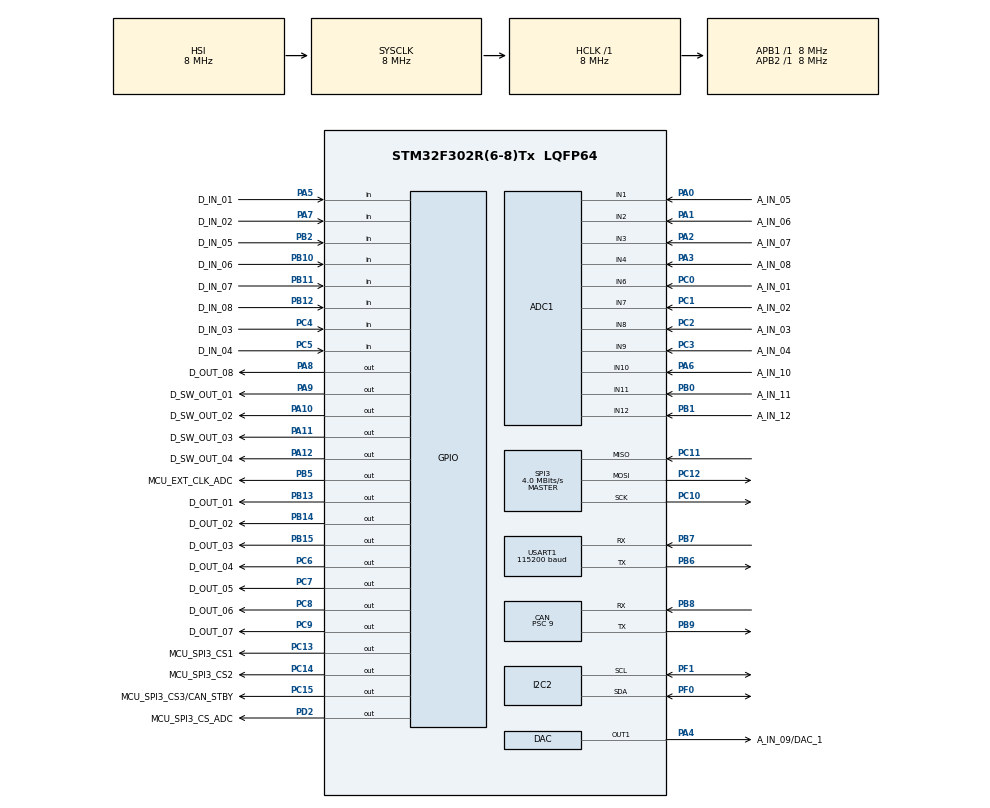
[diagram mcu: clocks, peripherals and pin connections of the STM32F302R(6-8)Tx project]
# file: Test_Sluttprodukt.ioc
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ADC1.Channel-0\#ChannelRegularConversion=ADC_CHANNEL_6
ADC1.ClockPrescaler=ADC_CLOCK_ASYNC_DIV1
ADC1.ContinuousConvMode=ENABLE
ADC1.EnableInjectedConversion=DISABLE
ADC1.NbrOfConversionFlag=1
ADC1.Offset-0\#ChannelRegularConversion=0
ADC1.OffsetNumber-0\#ChannelRegularConversion=ADC_OFFSET_NONE
ADC1.Overrun=ADC_OVR_DATA_PRESERVED
ADC1.Rank-0\#ChannelRegularConversion=1
ADC1.SamplingTime-0\#ChannelRegularConversion=ADC_SAMPLETIME_61CYCLES_5
ADC1.master=1
CAN.BS1=CAN_BS1_3TQ
CAN.BS2=CAN_BS2_4TQ
CAN.CalculateBaudRate=111111
CAN.CalculateTimeBit=9000
CAN.CalculateTimeQuantum=1125.0
CAN.Prescaler=9
Dma.ADC1.0.Direction=DMA_PERIPH_TO_MEMORY
Dma.ADC1.0.Instance=DMA1_Channel1
Dma.ADC1.0.MemDataAlignment=DMA_MDATAALIGN_HALFWORD
Dma.ADC1.0.MemInc=DMA_MINC_ENABLE
Dma.ADC1.0.Mode=DMA_CIRCULAR
Dma.ADC1.0.PeriphDataAlignment=DMA_PDATAALIGN_HALFWORD
Dma.ADC1.0.PeriphInc=DMA_PINC_DISABLE
Dma.ADC1.0.Priority=DMA_PRIORITY_LOW
Dma.I2C2_RX.2.Direction=DMA_PERIPH_TO_MEMORY
Dma.I2C2_RX.2.Instance=DMA1_Channel5
Dma.I2C2_RX.2.MemDataAlignment=DMA_MDATAALIGN_BYTE
Dma.I2C2_RX.2.MemInc=DMA_MINC_ENABLE
Dma.I2C2_RX.2.Mode=DMA_NORMAL
Dma.I2C2_RX.2.PeriphDataAlignment=DMA_PDATAALIGN_BYTE
Dma.I2C2_RX.2.PeriphInc=DMA_PINC_DISABLE
Dma.I2C2_RX.2.Priority=DMA_PRIORITY_LOW
Dma.I2C2_TX.1.Direction=DMA_MEMORY_TO_PERIPH
Dma.I2C2_TX.1.Instance=DMA1_Channel4
Dma.I2C2_TX.1.MemDataAlignment=DMA_MDATAALIGN_BYTE
Dma.I2C2_TX.1.MemInc=DMA_MINC_ENABLE
Dma.I2C2_TX.1.Mode=DMA_NORMAL
Dma.I2C2_TX.1.PeriphDataAlignment=DMA_PDATAALIGN_BYTE
Dma.I2C2_TX.1.PeriphInc=DMA_PINC_DISABLE
Dma.I2C2_TX.1.Priority=DMA_PRIORITY_LOW
Dma.Request0=ADC1
Dma.Request1=I2C2_TX
Dma.Request2=I2C2_RX
Dma.Request3=SPI3_TX
Dma.SPI3_TX.3.Direction=DMA_MEMORY_TO_PERIPH
Dma.SPI3_TX.3.Instance=DMA1_Channel3
Dma.SPI3_TX.3.MemDataAlignment=DMA_MDATAALIGN_BYTE
Dma.SPI3_TX.3.MemInc=DMA_MINC_ENABLE
Dma.SPI3_TX.3.Mode=DMA_NORMAL
Dma.SPI3_TX.3.PeriphDataAlignment=DMA_PDATAALIGN_BYTE
Dma.SPI3_TX.3.PeriphInc=DMA_PINC_DISABLE
Dma.SPI3_TX.3.Priority=DMA_PRIORITY_LOW
Mcu.Family=STM32F3
Mcu.Name=STM32F302R(6-8)Tx
Mcu.Package=LQFP64
NVIC.DMA1_Channel1_IRQn=true\:0\:0\:false\:false\:true\:false\:true\:true
NVIC.DMA1_Channel3_IRQn=true\:0\:0\:false\:false\:true\:false\:true\:true
NVIC.DMA1_Channel4_IRQn=true\:0\:0\:false\:false\:true\:false\:true\:true
NVIC.DMA1_Channel5_IRQn=true\:0\:0\:false\:false\:true\:false\:true\:true
NVIC.I2C2_ER_IRQn=true\:0\:0\:false\:false\:true\:true\:true\:true
NVIC.I2C2_EV_IRQn=true\:0\:0\:false\:false\:true\:true\:true\:true
NVIC.PriorityGroup=NVIC_PRIORITYGROUP_4
NVIC.SPI3_IRQn=true\:0\:0\:false\:false\:true\:true\:true\:true
PA0.GPIO_Label=A_IN_05
PA0.Mode=IN1-Single-Ended
PA0.Signal=ADC1_IN1
PA1.GPIO_Label=A_IN_06
PA1.Mode=IN2-Single-Ended
PA1.Signal=ADC1_IN2
PA10.GPIO_Label=D_SW_OUT_02
PA10.GPIO_Speed=GPIO_SPEED_FREQ_HIGH
PA10.Signal=GPIO_Output
PA11.GPIO_Label=D_SW_OUT_03
PA11.GPIO_Speed=GPIO_SPEED_FREQ_HIGH
PA11.Signal=GPIO_Output
PA12.GPIO_Label=D_SW_OUT_04
PA12.GPIO_Speed=GPIO_SPEED_FREQ_HIGH
PA12.Signal=GPIO_Output
PA13.Mode=JTAG_5_pins
PA13.Signal=SYS_JTMS-SWDIO
PA14.Mode=JTAG_5_pins
PA14.Signal=SYS_JTCK-SWCLK
PA15.Mode=JTAG_5_pins
PA15.Signal=SYS_JTDI
PA2.GPIO_Label=A_IN_07
PA2.Mode=IN3-Single-Ended
PA2.Signal=ADC1_IN3
PA3.GPIO_Label=A_IN_08
PA3.Mode=IN4-Single-Ended
PA3.Signal=ADC1_IN4
PA4.GPIO_Label=A_IN_09/DAC_1
PA4.Signal=SharedAnalog_PA4
PA5.GPIO_Label=D_IN_01
PA5.Signal=GPIO_Input
PA6.GPIO_Label=A_IN_10
PA6.Signal=ADCx_IN10
PA7.GPIO_Label=D_IN_02
PA7.Signal=GPIO_Input
PA8.GPIO_Label=D_OUT_08
PA8.GPIO_Speed=GPIO_SPEED_FREQ_HIGH
PA8.Signal=GPIO_Output
PA9.GPIO_Label=D_SW_OUT_01
PA9.GPIO_Speed=GPIO_SPEED_FREQ_HIGH
PA9.Signal=GPIO_Output
PB0.GPIO_Label=A_IN_11
PB0.Mode=IN11-Single-Ended
PB0.Signal=ADC1_IN11
PB1.GPIO_Label=A_IN_12
PB1.Mode=IN12-Single-Ended
PB1.Signal=ADC1_IN12
PB10.GPIO_Label=D_IN_06
PB10.Signal=GPIO_Input
PB11.GPIO_Label=D_IN_07
PB11.Signal=GPIO_Input
PB12.GPIO_Label=D_IN_08
PB12.Signal=GPIO_Input
PB13.GPIO_Label=D_OUT_01
PB13.GPIO_Speed=GPIO_SPEED_FREQ_HIGH
PB13.Signal=GPIO_Output
PB14.GPIO_Label=D_OUT_02
PB14.GPIO_Speed=GPIO_SPEED_FREQ_HIGH
PB14.Signal=GPIO_Output
PB15.GPIO_Label=D_OUT_03
PB15.GPIO_Speed=GPIO_SPEED_FREQ_HIGH
PB15.Signal=GPIO_Output
PB2.GPIO_Label=D_IN_05
PB2.Signal=GPIO_Input
PB3.Mode=JTAG_5_pins
PB3.Signal=SYS_JTDO-TRACESWO
PB4.Mode=JTAG_5_pins
PB4.Signal=SYS_NJTRST
PB5.GPIO_Label=MCU_EXT_CLK_ADC
PB5.GPIO_Speed=GPIO_SPEED_FREQ_HIGH
PB5.Signal=GPIO_Output
PB6.Mode=Asynchronous
PB6.Signal=USART1_TX
PB7.Mode=Asynchronous
PB7.Signal=USART1_RX
PB8.Mode=CAN_Activate
PB8.Signal=CAN_RX
PB9.Mode=CAN_Activate
PB9.Signal=CAN_TX
PC0.GPIO_Label=A_IN_01
PC0.Signal=ADCx_IN6
PC1.GPIO_Label=A_IN_02
PC1.Signal=ADCx_IN7
PC10.Mode=Full_Duplex_Master
PC10.Signal=SPI3_SCK
PC11.Mode=Full_Duplex_Master
PC11.Signal=SPI3_MISO
PC12.Mode=Full_Duplex_Master
PC12.Signal=SPI3_MOSI
PC13.GPIO_Label=MCU_SPI3_CS1
PC13.GPIO_Speed=GPIO_SPEED_FREQ_LOW
PC13.Signal=GPIO_Output
PC14\ -\ OSC32_IN.GPIO_Label=MCU_SPI3_CS2
PC14\ -\ OSC32_IN.GPIO_Speed=GPIO_SPEED_FREQ_HIGH
PC14\ -\ OSC32_IN.Signal=GPIO_Output
PC15\ -\ OSC32_OUT.GPIO_Label=MCU_SPI3_CS3/CAN_STBY
PC15\ -\ OSC32_OUT.GPIO_Speed=GPIO_SPEED_FREQ_HIGH
PC15\ -\ OSC32_OUT.Signal=GPIO_Output
PC2.GPIO_Label=A_IN_03
PC2.Signal=ADCx_IN8
PC3.GPIO_Label=A_IN_04
PC3.Signal=ADCx_IN9
PC4.GPIO_Label=D_IN_03
PC4.Signal=GPIO_Input
PC5.GPIO_Label=D_IN_04
PC5.Signal=GPIO_Input
PC6.GPIO_Label=D_OUT_04
PC6.GPIO_Speed=GPIO_SPEED_FREQ_HIGH
PC6.Signal=GPIO_Output
PC7.GPIO_Label=D_OUT_05
PC7.GPIO_Speed=GPIO_SPEED_FREQ_HIGH
PC7.Signal=GPIO_Output
PC8.GPIO_Label=D_OUT_06
PC8.GPIO_Speed=GPIO_SPEED_FREQ_HIGH
PC8.Signal=GPIO_Output
PC9.GPIO_Label=D_OUT_07
PC9.GPIO_Speed=GPIO_SPEED_FREQ_HIGH
PC9.Signal=GPIO_Output
PD2.GPIO_Label=MCU_SPI3_CS_ADC
PD2.GPIO_Speed=GPIO_SPEED_FREQ_HIGH
PD2.Signal=GPIO_Output
PF0-OSC_IN.GPIO_Pu=GPIO_PULLUP
PF0-OSC_IN.Mode=I2C
PF0-OSC_IN.Signal=I2C2_SDA
PF1-OSC_OUT.GPIO_Pu=GPIO_PULLUP
PF1-OSC_OUT.Mode=I2C
PF1-OSC_OUT.Signal=I2C2_SCL
ProjectManager.HeapSize=0x200
ProjectManager.StackSize=0x400
ProjectManager.TargetToolchain=STM32CubeIDE
RCC.AHBFreq_Value=8000000
RCC.APB1Freq_Value=8000000
RCC.APB2Freq_Value=8000000
RCC.CortexFreq_Value=8000000
RCC.HSE_VALUE=8000000
RCC.HSI_VALUE=8000000
RCC.LSE_VALUE=32768
RCC.PLLMUL=RCC_PLL_MUL4
RCC.SYSCLKFreq_VALUE=8000000
RCC.USBFreq_Value=16000000
SH.ADCx_IN10.0=ADC1_IN10,IN10-Single-Ended
SH.ADCx_IN6.0=ADC1_IN6,IN6-Single-Ended
SH.ADCx_IN7.0=ADC1_IN7,IN7-Single-Ended
SH.ADCx_IN8.0=ADC1_IN8,IN8-Single-Ended
SH.ADCx_IN9.0=ADC1_IN9,IN9-Single-Ended
SH.SharedAnalog_PA4.0=DAC_OUT1,DAC_OUT1
SH.SharedAnalog_PA4.1=ADC1_IN5,IN5-Single-Ended
SPI3.CalculateBaudRate=4.0 MBits/s
SPI3.DataSize=SPI_DATASIZE_8BIT
SPI3.Direction=SPI_DIRECTION_2LINES
SPI3.Mode=SPI_MODE_MASTER
SPI3.NSSPMode=SPI_NSS_PULSE_DISABLE
SPI3.VirtualType=VM_MASTER
USART1.BaudRate=115200
USART1.VirtualMode-Asynchronous=VM_ASYNC
board=custom

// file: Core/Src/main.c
/* USER CODE BEGIN Header */
/**
  ******************************************************************************
  * @file           : main.c
  * @brief          : Main program body
  ******************************************************************************
  * @attention
  *
  * Copyright (c) 2024 STMicroelectronics.
  * All rights reserved.
  *
  * This software is licensed under terms that can be found in the LICENSE file
  * in the root directory of this software component.
  * If no LICENSE file comes with this software, it is provided AS-IS.
  *
  ******************************************************************************
  */
/* USER CODE END Header */
#include "main.h"

/* USER CODE BEGIN Includes */

#include <string.h>
#include <stdio.h>

/* USER CODE END Includes */

ADC_HandleTypeDef hadc1;
DMA_HandleTypeDef hdma_adc1;

CAN_HandleTypeDef hcan;

DAC_HandleTypeDef hdac;

I2C_HandleTypeDef hi2c2;
DMA_HandleTypeDef hdma_i2c2_tx;
DMA_HandleTypeDef hdma_i2c2_rx;

SPI_HandleTypeDef hspi3;
DMA_HandleTypeDef hdma_spi3_tx;

UART_HandleTypeDef huart1;

void SystemClock_Config(void);
static void MX_GPIO_Init(void);
static void MX_DMA_Init(void);
static void MX_ADC1_Init(void);
static void MX_I2C2_Init(void);
static void MX_SPI3_Init(void);
static void MX_CAN_Init(void);
static void MX_USART1_UART_Init(void);
static void MX_DAC_Init(void);

/* USER CODE BEGIN 0 */

uint8_t buf[12] = "Hello world\n"; 	// Buffer som sendes over UART

uint8_t I2C_TX_Buffer[] = "A"; 		// Buffer som sendes over I2C

uint32_t value_dac = 0; 			// Variabel for å bestemme output på DAC

uint32_t value_adc; 				// Variabel for å ta vare på verdi fra ADC
char msg[10]; 						// Buffer for å sende ADC data

uint8_t Master_SPI_RX[1]; 			// Buffer for å motta og lagre verdi fra SPI

CAN_TxHeaderTypeDef TxHeader;
uint8_t TxData[8] = "A"; 			// Buffer for CAN data som skal sendes
uint32_t TxMailbox; 				// TxMailbox vil sendes til CAN bussen

/* USER CODE END 0 */

int main(void)
{

  /* MCU Configuration--------------------------------------------------------*/

  /* Reset of all peripherals, Initializes the Flash interface and the Systick. */
  HAL_Init();

  /* Configure the system clock */
  SystemClock_Config();

  /* Initialize all configured peripherals */
  MX_GPIO_Init();
  MX_DMA_Init();
  MX_ADC1_Init();
  MX_I2C2_Init();
  MX_SPI3_Init();
  MX_CAN_Init();
  MX_USART1_UART_Init();
  MX_DAC_Init();
  /* USER CODE BEGIN 2 */

  // Starter DAC
  HAL_DAC_Start(&hdac, DAC_CHANNEL_1);

  // Kalibrerer ADC, initialisert på kanal 6
  HAL_ADCEx_Calibration_Start(&hadc1, ADC_SINGLE_ENDED);
  HAL_ADC_Start_DMA(&hadc1, (uint32_t*)&value_adc, 1);

  HAL_CAN_Start(&hcan); 		// Klargjør for fullstendig CAN beskjed
  TxHeader.IDE = CAN_ID_EXT; 	// setter ID til "standard", ikke "extended"
  TxHeader.StdId = 0x446; 		// Setter verdi for ID
  TxHeader.RTR = CAN_RTR_DATA;	// Setter Remote Transmission Request
  TxHeader.DLC = 2;				// Lengde på data

  HAL_GPIO_WritePin(GPIOB, GPIO_PIN_13, GPIO_PIN_SET);

  /* USER CODE END 2 */

  /* Infinite loop */
  while (1)
  {

    /* USER CODE BEGIN 3 */

	  // Test av UART
	  /*HAL_UART_Transmit(&huart1, buf, 10, 1000);
	  HAL_Delay(500);*/

	  // Test av GPIO-toggle
	  /*HAL_GPIO_TogglePin(GPIOB, GPIO_PIN_13);
	  HAL_Delay(1000);*/

	  // Test GPIO Digital read
	  /*if(HAL_GPIO_ReadPin(GPIOA, GPIO_PIN_5)){
		  HAL_GPIO_WritePin(GPIOA, GPIO_PIN_12, GPIO_PIN_SET);
	  }
	  else {
		  HAL_GPIO_WritePin(GPIOA, GPIO_PIN_12, GPIO_PIN_RESET);
	  }*/

	  // Test av DAC
	  /*HAL_DAC_SetValue(&hdac, DAC_CHANNEL_1, DAC_ALIGN_12B_R, value_dac);
	  value_dac = value_dac + 10;
	  if( value_dac > 4095 ) {
	  	value_dac = 0;
	  }
	  HAL_Delay(100);*/

	  // Test av ADC
	  /*HAL_ADC_Start(&hadc1);
	  value_adc = HAL_ADC_GetValue(&hadc1);
	  sprintf(msg, "%hu\r\n", value_adc);
	  HAL_UART_Transmit(&huart1, (uint8_t*)msg, 10, 1000);
	  HAL_Delay(500);*/

	  // Test av CAN
	  /*HAL_CAN_AddTxMessage(&hcan, &TxHeader, TxData, &TxMailbox);
	  HAL_Delay(100);*/

	  // Test av I2C
	  /*HAL_I2C_Master_Transmit(&hi2c2, 0, I2C_TX_Buffer, 1, 1000);
	  HAL_Delay(100);*/

	  // Test av SPI
	  /*HAL_GPIO_WritePin(GPIOB, GPIO_PIN_13, GPIO_PIN_RESET);
	  HAL_SPI_Receive(&hspi3, Master_SPI_RX, 1, 1000);
	  HAL_SPI_Transmit(&hspi3, Master_SPI_RX, 1, 1000);
	  HAL_GPIO_WritePin(GPIOB, GPIO_PIN_13, GPIO_PIN_SET);
	  HAL_Delay(500);*/

  }
  /* USER CODE END 3 */
}

void SystemClock_Config(void)
{
  RCC_OscInitTypeDef RCC_OscInitStruct = {0};
  RCC_ClkInitTypeDef RCC_ClkInitStruct = {0};
  RCC_PeriphCLKInitTypeDef PeriphClkInit = {0};

  /** Initializes the RCC Oscillators according to the specified parameters
  * in the RCC_OscInitTypeDef structure.
  */
  RCC_OscInitStruct.OscillatorType = RCC_OSCILLATORTYPE_HSI;
  RCC_OscInitStruct.HSIState = RCC_HSI_ON;
  RCC_OscInitStruct.HSICalibrationValue = RCC_HSICALIBRATION_DEFAULT;
  RCC_OscInitStruct.PLL.PLLState = RCC_PLL_ON;
  RCC_OscInitStruct.PLL.PLLSource = RCC_PLLSOURCE_HSI;
  RCC_OscInitStruct.PLL.PLLMUL = RCC_PLL_MUL4;
  if (HAL_RCC_OscConfig(&RCC_OscInitStruct) != HAL_OK)
  {
    Error_Handler();
  }

  /** Initializes the CPU, AHB and APB buses clocks
  */
  RCC_ClkInitStruct.ClockType = RCC_CLOCKTYPE_HCLK|RCC_CLOCKTYPE_SYSCLK
                              |RCC_CLOCKTYPE_PCLK1|RCC_CLOCKTYPE_PCLK2;
  RCC_ClkInitStruct.SYSCLKSource = RCC_SYSCLKSOURCE_HSI;
  RCC_ClkInitStruct.AHBCLKDivider = RCC_SYSCLK_DIV1;
  RCC_ClkInitStruct.APB1CLKDivider = RCC_HCLK_DIV1;
  RCC_ClkInitStruct.APB2CLKDivider = RCC_HCLK_DIV1;

  if (HAL_RCC_ClockConfig(&RCC_ClkInitStruct, FLASH_LATENCY_0) != HAL_OK)
  {
    Error_Handler();
  }
  PeriphClkInit.PeriphClockSelection = RCC_PERIPHCLK_USART1|RCC_PERIPHCLK_I2C2
                              |RCC_PERIPHCLK_ADC1;
  PeriphClkInit.Usart1ClockSelection = RCC_USART1CLKSOURCE_PCLK1;
  PeriphClkInit.I2c2ClockSelection = RCC_I2C2CLKSOURCE_HSI;
  PeriphClkInit.Adc1ClockSelection = RCC_ADC1PLLCLK_DIV1;

  if (HAL_RCCEx_PeriphCLKConfig(&PeriphClkInit) != HAL_OK)
  {
    Error_Handler();
  }
}

static void MX_ADC1_Init(void)
{

  ADC_ChannelConfTypeDef sConfig = {0};

  /** Common config
  */
  hadc1.Instance = ADC1;
  hadc1.Init.ClockPrescaler = ADC_CLOCK_ASYNC_DIV1;
  hadc1.Init.Resolution = ADC_RESOLUTION_12B;
  hadc1.Init.ScanConvMode = ADC_SCAN_DISABLE;
  hadc1.Init.ContinuousConvMode = ENABLE;
  hadc1.Init.DiscontinuousConvMode = DISABLE;
  hadc1.Init.ExternalTrigConvEdge = ADC_EXTERNALTRIGCONVEDGE_NONE;
  hadc1.Init.ExternalTrigConv = ADC_SOFTWARE_START;
  hadc1.Init.DataAlign = ADC_DATAALIGN_RIGHT;
  hadc1.Init.NbrOfConversion = 1;
  hadc1.Init.DMAContinuousRequests = DISABLE;
  hadc1.Init.EOCSelection = ADC_EOC_SINGLE_CONV;
  hadc1.Init.LowPowerAutoWait = DISABLE;
  hadc1.Init.Overrun = ADC_OVR_DATA_PRESERVED;
  if (HAL_ADC_Init(&hadc1) != HAL_OK)
  {
    Error_Handler();
  }

  /** Configure Regular Channel
  */
  sConfig.Channel = ADC_CHANNEL_6;
  sConfig.Rank = ADC_REGULAR_RANK_1;
  sConfig.SingleDiff = ADC_SINGLE_ENDED;
  sConfig.SamplingTime = ADC_SAMPLETIME_61CYCLES_5;
  sConfig.OffsetNumber = ADC_OFFSET_NONE;
  sConfig.Offset = 0;
  if (HAL_ADC_ConfigChannel(&hadc1, &sConfig) != HAL_OK)
  {
    Error_Handler();
  }

}

static void MX_CAN_Init(void)
{

  hcan.Instance = CAN;
  hcan.Init.Prescaler = 9;
  hcan.Init.Mode = CAN_MODE_NORMAL;
  hcan.Init.SyncJumpWidth = CAN_SJW_1TQ;
  hcan.Init.TimeSeg1 = CAN_BS1_3TQ;
  hcan.Init.TimeSeg2 = CAN_BS2_4TQ;
  hcan.Init.TimeTriggeredMode = DISABLE;
  hcan.Init.AutoBusOff = DISABLE;
  hcan.Init.AutoWakeUp = DISABLE;
  hcan.Init.AutoRetransmission = DISABLE;
  hcan.Init.ReceiveFifoLocked = DISABLE;
  hcan.Init.TransmitFifoPriority = DISABLE;
  if (HAL_CAN_Init(&hcan) != HAL_OK)
  {
    Error_Handler();
  }

}

static void MX_DAC_Init(void)
{

  DAC_ChannelConfTypeDef sConfig = {0};

  /** DAC Initialization
  */
  hdac.Instance = DAC;
  if (HAL_DAC_Init(&hdac) != HAL_OK)
  {
    Error_Handler();
  }

  /** DAC channel OUT1 config
  */
  sConfig.DAC_Trigger = DAC_TRIGGER_NONE;
  sConfig.DAC_OutputBuffer = DAC_OUTPUTBUFFER_ENABLE;
  if (HAL_DAC_ConfigChannel(&hdac, &sConfig, DAC_CHANNEL_1) != HAL_OK)
  {
    Error_Handler();
  }

}

static void MX_I2C2_Init(void)
{

  hi2c2.Instance = I2C2;
  hi2c2.Init.Timing = 0x2000090E;
  hi2c2.Init.OwnAddress1 = 0;
  hi2c2.Init.AddressingMode = I2C_ADDRESSINGMODE_7BIT;
  hi2c2.Init.DualAddressMode = I2C_DUALADDRESS_DISABLE;
  hi2c2.Init.OwnAddress2 = 0;
  hi2c2.Init.OwnAddress2Masks = I2C_OA2_NOMASK;
  hi2c2.Init.GeneralCallMode = I2C_GENERALCALL_DISABLE;
  hi2c2.Init.NoStretchMode = I2C_NOSTRETCH_DISABLE;
  if (HAL_I2C_Init(&hi2c2) != HAL_OK)
  {
    Error_Handler();
  }

  /** Configure Analogue filter
  */
  if (HAL_I2CEx_ConfigAnalogFilter(&hi2c2, I2C_ANALOGFILTER_ENABLE) != HAL_OK)
  {
    Error_Handler();
  }

  /** Configure Digital filter
  */
  if (HAL_I2CEx_ConfigDigitalFilter(&hi2c2, 0) != HAL_OK)
  {
    Error_Handler();
  }

}

static void MX_SPI3_Init(void)
{

  /* SPI3 parameter configuration*/
  hspi3.Instance = SPI3;
  hspi3.Init.Mode = SPI_MODE_MASTER;
  hspi3.Init.Direction = SPI_DIRECTION_2LINES;
  hspi3.Init.DataSize = SPI_DATASIZE_8BIT;
  hspi3.Init.CLKPolarity = SPI_POLARITY_LOW;
  hspi3.Init.CLKPhase = SPI_PHASE_1EDGE;
  hspi3.Init.NSS = SPI_NSS_SOFT;
  hspi3.Init.BaudRatePrescaler = SPI_BAUDRATEPRESCALER_2;
  hspi3.Init.FirstBit = SPI_FIRSTBIT_MSB;
  hspi3.Init.TIMode = SPI_TIMODE_DISABLE;
  hspi3.Init.CRCCalculation = SPI_CRCCALCULATION_DISABLE;
  hspi3.Init.CRCPolynomial = 7;
  hspi3.Init.CRCLength = SPI_CRC_LENGTH_DATASIZE;
  hspi3.Init.NSSPMode = SPI_NSS_PULSE_DISABLE;
  if (HAL_SPI_Init(&hspi3) != HAL_OK)
  {
    Error_Handler();
  }

}

static void MX_USART1_UART_Init(void)
{

  huart1.Instance = USART1;
  huart1.Init.BaudRate = 115200;
  huart1.Init.WordLength = UART_WORDLENGTH_8B;
  huart1.Init.StopBits = UART_STOPBITS_1;
  huart1.Init.Parity = UART_PARITY_NONE;
  huart1.Init.Mode = UART_MODE_TX_RX;
  huart1.Init.HwFlowCtl = UART_HWCONTROL_NONE;
  huart1.Init.OverSampling = UART_OVERSAMPLING_16;
  huart1.Init.OneBitSampling = UART_ONE_BIT_SAMPLE_DISABLE;
  huart1.AdvancedInit.AdvFeatureInit = UART_ADVFEATURE_NO_INIT;
  if (HAL_UART_Init(&huart1) != HAL_OK)
  {
    Error_Handler();
  }

}

static void MX_DMA_Init(void)
{

  /* DMA controller clock enable */
  __HAL_RCC_DMA1_CLK_ENABLE();

  /* DMA interrupt init */
  /* DMA1_Channel1_IRQn interrupt configuration */
  HAL_NVIC_SetPriority(DMA1_Channel1_IRQn, 0, 0);
  HAL_NVIC_EnableIRQ(DMA1_Channel1_IRQn);
  /* DMA1_Channel3_IRQn interrupt configuration */
  HAL_NVIC_SetPriority(DMA1_Channel3_IRQn, 0, 0);
  HAL_NVIC_EnableIRQ(DMA1_Channel3_IRQn);
  /* DMA1_Channel4_IRQn interrupt configuration */
  HAL_NVIC_SetPriority(DMA1_Channel4_IRQn, 0, 0);
  HAL_NVIC_EnableIRQ(DMA1_Channel4_IRQn);
  /* DMA1_Channel5_IRQn interrupt configuration */
  HAL_NVIC_SetPriority(DMA1_Channel5_IRQn, 0, 0);
  HAL_NVIC_EnableIRQ(DMA1_Channel5_IRQn);

}

static void MX_GPIO_Init(void)
{
  GPIO_InitTypeDef GPIO_InitStruct = {0};

  /* GPIO Ports Clock Enable */
  __HAL_RCC_GPIOC_CLK_ENABLE();
  __HAL_RCC_GPIOF_CLK_ENABLE();
  __HAL_RCC_GPIOA_CLK_ENABLE();
  __HAL_RCC_GPIOB_CLK_ENABLE();
  __HAL_RCC_GPIOD_CLK_ENABLE();

  /*Configure GPIO pin Output Level */
  HAL_GPIO_WritePin(GPIOC, MCU_SPI3_CS1_Pin|MCU_SPI3_CS2_Pin|MCU_SPI3_CS3_CAN_STBY_Pin|D_OUT_04_Pin
                          |D_OUT_05_Pin|D_OUT_06_Pin|D_OUT_07_Pin, GPIO_PIN_RESET);

  /*Configure GPIO pin Output Level */
  HAL_GPIO_WritePin(GPIOB, D_OUT_01_Pin|D_OUT_02_Pin|D_OUT_03_Pin|MCU_EXT_CLK_ADC_Pin, GPIO_PIN_RESET);

  /*Configure GPIO pin Output Level */
  HAL_GPIO_WritePin(GPIOA, D_OUT_08_Pin|D_SW_OUT_01_Pin|D_SW_OUT_02_Pin|D_SW_OUT_03_Pin
                          |D_SW_OUT_04_Pin, GPIO_PIN_RESET);

  /*Configure GPIO pin Output Level */
  HAL_GPIO_WritePin(MCU_SPI3_CS_ADC_GPIO_Port, MCU_SPI3_CS_ADC_Pin, GPIO_PIN_RESET);

  /*Configure GPIO pin : MCU_SPI3_CS1_Pin */
  GPIO_InitStruct.Pin = MCU_SPI3_CS1_Pin;
  GPIO_InitStruct.Mode = GPIO_MODE_OUTPUT_PP;
  GPIO_InitStruct.Pull = GPIO_NOPULL;
  GPIO_InitStruct.Speed = GPIO_SPEED_FREQ_LOW;
  HAL_GPIO_Init(MCU_SPI3_CS1_GPIO_Port, &GPIO_InitStruct);

  /*Configure GPIO pins : MCU_SPI3_CS2_Pin MCU_SPI3_CS3_CAN_STBY_Pin D_OUT_04_Pin D_OUT_05_Pin
                           D_OUT_06_Pin D_OUT_07_Pin */
  GPIO_InitStruct.Pin = MCU_SPI3_CS2_Pin|MCU_SPI3_CS3_CAN_STBY_Pin|D_OUT_04_Pin|D_OUT_05_Pin
                          |D_OUT_06_Pin|D_OUT_07_Pin;
  GPIO_InitStruct.Mode = GPIO_MODE_OUTPUT_PP;
  GPIO_InitStruct.Pull = GPIO_NOPULL;
  GPIO_InitStruct.Speed = GPIO_SPEED_FREQ_HIGH;
  HAL_GPIO_Init(GPIOC, &GPIO_InitStruct);

  /*Configure GPIO pins : D_IN_01_Pin D_IN_02_Pin */
  GPIO_InitStruct.Pin = D_IN_01_Pin|D_IN_02_Pin;
  GPIO_InitStruct.Mode = GPIO_MODE_INPUT;
  GPIO_InitStruct.Pull = GPIO_NOPULL;
  HAL_GPIO_Init(GPIOA, &GPIO_InitStruct);

  /*Configure GPIO pins : D_IN_03_Pin D_IN_04_Pin */
  GPIO_InitStruct.Pin = D_IN_03_Pin|D_IN_04_Pin;
  GPIO_InitStruct.Mode = GPIO_MODE_INPUT;
  GPIO_InitStruct.Pull = GPIO_NOPULL;
  HAL_GPIO_Init(GPIOC, &GPIO_InitStruct);

  /*Configure GPIO pins : D_IN_05_Pin D_IN_06_Pin D_IN_07_Pin D_IN_08_Pin */
  GPIO_InitStruct.Pin = D_IN_05_Pin|D_IN_06_Pin|D_IN_07_Pin|D_IN_08_Pin;
  GPIO_InitStruct.Mode = GPIO_MODE_INPUT;
  GPIO_InitStruct.Pull = GPIO_NOPULL;
  HAL_GPIO_Init(GPIOB, &GPIO_InitStruct);

  /*Configure GPIO pins : D_OUT_01_Pin D_OUT_02_Pin D_OUT_03_Pin MCU_EXT_CLK_ADC_Pin */
  GPIO_InitStruct.Pin = D_OUT_01_Pin|D_OUT_02_Pin|D_OUT_03_Pin|MCU_EXT_CLK_ADC_Pin;
  GPIO_InitStruct.Mode = GPIO_MODE_OUTPUT_PP;
  GPIO_InitStruct.Pull = GPIO_NOPULL;
  GPIO_InitStruct.Speed = GPIO_SPEED_FREQ_HIGH;
  HAL_GPIO_Init(GPIOB, &GPIO_InitStruct);

  /*Configure GPIO pins : D_OUT_08_Pin D_SW_OUT_01_Pin D_SW_OUT_02_Pin D_SW_OUT_03_Pin
                           D_SW_OUT_04_Pin */
  GPIO_InitStruct.Pin = D_OUT_08_Pin|D_SW_OUT_01_Pin|D_SW_OUT_02_Pin|D_SW_OUT_03_Pin
                          |D_SW_OUT_04_Pin;
  GPIO_InitStruct.Mode = GPIO_MODE_OUTPUT_PP;
  GPIO_InitStruct.Pull = GPIO_NOPULL;
  GPIO_InitStruct.Speed = GPIO_SPEED_FREQ_HIGH;
  HAL_GPIO_Init(GPIOA, &GPIO_InitStruct);

  /*Configure GPIO pin : MCU_SPI3_CS_ADC_Pin */
  GPIO_InitStruct.Pin = MCU_SPI3_CS_ADC_Pin;
  GPIO_InitStruct.Mode = GPIO_MODE_OUTPUT_PP;
  GPIO_InitStruct.Pull = GPIO_NOPULL;
  GPIO_InitStruct.Speed = GPIO_SPEED_FREQ_HIGH;
  HAL_GPIO_Init(MCU_SPI3_CS_ADC_GPIO_Port, &GPIO_InitStruct);

}

void Error_Handler(void)
{
  __disable_irq();
  while (1)
  {
  }
}
